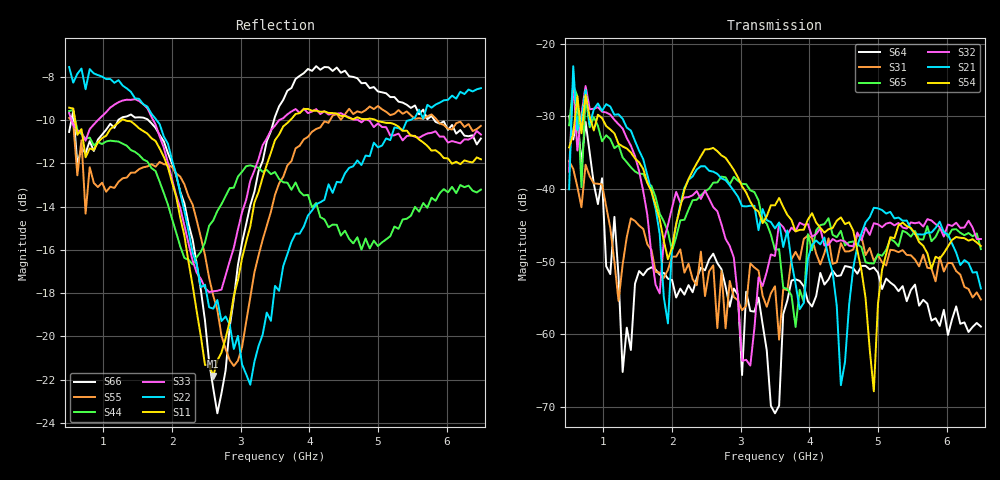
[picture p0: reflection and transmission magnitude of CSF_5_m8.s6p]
!Keysight Technologies,M9804A,MY58100912,A.14.10.03
!Date: Thursday, April 27, 2023 10:28:33
!Correction: S11(C  6-Port  )
!S12(C  6-Port  )
!S13(C  6-Port  )
!S14(C  6-Port  )
!S15(C  6-Port  )
!S16(C  6-Port  )
!S21(C  6-Port  )
!S22(C  6-Port  )
!S23(C  6-Port  )
!S24(C  6-Port  )
!S25(C  6-Port  )
!S26(C  6-Port  )
!S31(C  6-Port  )
!S32(C  6-Port  )
!S33(C  6-Port  )
!S34(C  6-Port  )
!S35(C  6-Port  )
!S36(C  6-Port  )
!S41(C  6-Port  )
!S42(C  6-Port  )
!S43(C  6-Port  )
!S44(C  6-Port  )
!S45(C  6-Port  )
!S46(C  6-Port  )
!S51(C  6-Port  )
!S52(C  6-Port  )
!S53(C  6-Port  )
!S54(C  6-Port  )
!S55(C  6-Port  )
!S56(C  6-Port  )
!S61(C  6-Port  )
!S62(C  6-Port  )
!S63(C  6-Port  )
!S64(C  6-Port  )
!S65(C  6-Port  )
!S66(C  6-Port  )
!S6P File: Measurement: :
# Hz S  RI  R 50
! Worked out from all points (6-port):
!   101 points, 500 MHz to 6.5 GHz, reference 50 ohm
!   strongest paths, dB at 500 MHz, 2 GHz, 3.5 GHz, 5 GHz, 6.5 GHz:
!     S54: -34.3, -48.1, -42.3, -55.9, -47.9
!     S21: -40.0, -47.9, -45.4, -42.7, -53.7
!     S32: -37.6, -42.6, -49.2, -44.9, -46.9
!     S65: -31.2, -48.5, -48.4, -49.0, -48.3
!     S31: -36.2, -49.3, -53.4, -49.1, -55.2
!     S64: -30.0, -52.5, -70.9, -51.5, -59.0
!   lowest |S11| = -21.8 dB at 2.6 GHz (marker M1), VSWR 1.18, Z = 42.7 + j1.96 ohm
!   |S11| at or under -10 dB: 586.3 MHz to 1.264 GHz (678.2 MHz wide, 73.3 % of centre); 1.311 GHz to 3.723 GHz (2.412 GHz wide, 95.8 % of centre); 4.966 GHz to end of sweep
